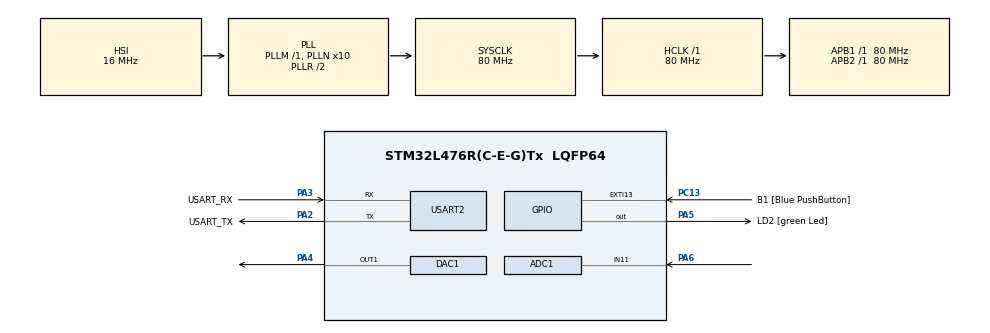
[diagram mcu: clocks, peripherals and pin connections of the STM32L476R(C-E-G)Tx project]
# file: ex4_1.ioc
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ADC1.Channel-2\#ChannelRegularConversion=ADC_CHANNEL_11
ADC1.ExternalTrigConv=ADC_EXTERNALTRIG_T6_TRGO
ADC1.NbrOfConversionFlag=1
ADC1.OffsetNumber-2\#ChannelRegularConversion=ADC_OFFSET_NONE
ADC1.Rank-2\#ChannelRegularConversion=1
ADC1.SamplingTime-2\#ChannelRegularConversion=ADC_SAMPLETIME_47CYCLES_5
ADC1.master=1
Mcu.Family=STM32L4
Mcu.Name=STM32L476R(C-E-G)Tx
Mcu.Package=LQFP64
NVIC.ADC1_2_IRQn=true\:0\:0\:false\:false\:true\:true\:true
NVIC.PriorityGroup=NVIC_PRIORITYGROUP_4
NVIC.TIM6_DAC_IRQn=true\:0\:0\:false\:false\:true\:true\:true
NVIC.TIM7_IRQn=true\:0\:0\:false\:false\:true\:true\:true
NVIC.USART2_IRQn=true\:0\:0\:false\:false\:true\:true\:true
PA13\ (JTMS-SWDIO).GPIO_Label=TMS
PA13\ (JTMS-SWDIO).Mode=Serial_Wire
PA13\ (JTMS-SWDIO).Signal=SYS_JTMS-SWDIO
PA14\ (JTCK-SWCLK).GPIO_Label=TCK
PA14\ (JTCK-SWCLK).Mode=Serial_Wire
PA14\ (JTCK-SWCLK).Signal=SYS_JTCK-SWCLK
PA2.GPIO_Label=USART_TX
PA2.GPIO_Mode=GPIO_MODE_AF_PP
PA2.GPIO_PuPd=GPIO_NOPULL
PA2.GPIO_Speed=GPIO_SPEED_FREQ_VERY_HIGH
PA2.Mode=Asynchronous
PA2.Signal=USART2_TX
PA3.GPIO_Label=USART_RX
PA3.GPIO_Mode=GPIO_MODE_AF_PP
PA3.GPIO_PuPd=GPIO_NOPULL
PA3.GPIO_Speed=GPIO_SPEED_FREQ_VERY_HIGH
PA3.Mode=Asynchronous
PA3.Signal=USART2_RX
PA4.Signal=COMP_DAC11_group
PA5.GPIO_Label=LD2 [green Led]
PA5.GPIO_ModeDefaultOutputPP=GPIO_MODE_OUTPUT_PP
PA5.GPIO_PuPd=GPIO_NOPULL
PA5.GPIO_Speed=GPIO_SPEED_FREQ_LOW
PA5.Signal=GPIO_Output
PA6.Signal=ADCx_IN11
PB3\ (JTDO-TRACESWO).GPIO_Label=SWO
PB3\ (JTDO-TRACESWO).Signal=SYS_JTDO-SWO
PC13.GPIO_Label=B1 [Blue PushButton]
PC13.GPIO_ModeDefaultEXTI=GPIO_MODE_IT_FALLING
PC13.GPIO_PuPd=GPIO_NOPULL
PC13.Signal=GPXTI13
PC14-OSC32_IN\ (PC14).Mode=LSE-External-Oscillator
PC14-OSC32_IN\ (PC14).Signal=RCC_OSC32_IN
PC15-OSC32_OUT\ (PC15).Mode=LSE-External-Oscillator
PC15-OSC32_OUT\ (PC15).Signal=RCC_OSC32_OUT
PH0-OSC_IN\ (PH0).Signal=RCC_OSC_IN
PH1-OSC_OUT\ (PH1).Signal=RCC_OSC_OUT
ProjectManager.HeapSize=0x200
ProjectManager.StackSize=0x400
ProjectManager.TargetToolchain=STM32CubeIDE
RCC.ADCFreq_Value=64000000
RCC.AHBFreq_Value=80000000
RCC.APB1Freq_Value=80000000
RCC.APB1TimFreq_Value=80000000
RCC.APB2Freq_Value=80000000
RCC.APB2TimFreq_Value=80000000
RCC.CortexFreq_Value=80000000
RCC.HCLKFreq_Value=80000000
RCC.HSE_VALUE=8000000
RCC.HSI_VALUE=16000000
RCC.MSI_VALUE=4000000
RCC.PLLN=10
RCC.PLLSourceVirtual=RCC_PLLSOURCE_HSI
RCC.PREFETCH_ENABLE=1
RCC.SYSCLKFreq_VALUE=80000000
RCC.SYSCLKSource=RCC_SYSCLKSOURCE_PLLCLK
RCC.USBFreq_Value=64000000
RCC.VCOOutputFreq_Value=160000000
SH.ADCx_IN11.0=ADC1_IN11,IN11-Single-Ended
SH.COMP_DAC11_group.0=DAC1_OUT1,DAC_OUT1
TIM6.Period=999
TIM6.Prescaler=799
TIM6.TIM_MasterOutputTrigger=TIM_TRGO_UPDATE
TIM7.Period=199
TIM7.Prescaler=7999
USART2.VirtualMode-Asynchronous=VM_ASYNC
VP_TIM6_VS_ClockSourceINT.Mode=Enable_Timer
VP_TIM7_VS_ClockSourceINT.Mode=Enable_Timer
board=NUCLEO-L476RG

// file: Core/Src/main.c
/* USER CODE BEGIN Header */
/**
  ******************************************************************************
  * @file           : main.c
  * @brief          : Main program body
  ******************************************************************************
  * @attention
  *
  * <h2><center>&copy; Copyright (c) 2021 STMicroelectronics.
  * All rights reserved.</center></h2>
  *
  * This software component is licensed by ST under BSD 3-Clause license,
  * the "License"; You may not use this file except in compliance with the
  * License. You may obtain a copy of the License at:
  *                        opensource.org/licenses/BSD-3-Clause
  *
  ******************************************************************************
  */
/* USER CODE END Header */
#include "main.h"
#include "adc.h"
#include "dac.h"
#include "tim.h"
#include "usart.h"
#include "gpio.h"

/* USER CODE BEGIN Includes */
#include "pid.h"
#include <stdio.h>
/* USER CODE END Includes */

/* USER CODE BEGIN PV */
volatile int adc_flag;
volatile int flag2;
volatile int adc_value;
volatile int dac_value;
volatile int dac_control;
volatile uint16_t dac_index;
volatile uint8_t dac_nperiod;
#define dac_nperiod_max 100 //programowy prescaler
int step_desired;
cpid_t pid;
volatile uint8_t i;
uint8_t Received;

uint16_t Value[] = {0,1024,2048,3073,4095};
/* USER CODE END PV */

void SystemClock_Config(void);
/* USER CODE BEGIN PFP */
int _write(int file, char *ptr, int len){
	HAL_UART_Transmit(&huart2, (uint8_t*)ptr, len, 50);
	return len;
}

void HAL_ADC_ConvCpltCallback(ADC_HandleTypeDef* hadc) {
	if (hadc == &hadc1) {
		adc_flag = 1;
		adc_value = HAL_ADC_GetValue(&hadc1);
	}
}

void HAL_TIM_PeriodElapsedCallback(TIM_HandleTypeDef *htim) {
	if (htim == &htim7) {
		flag2=1;
	}
}

void HAL_UART_RxCpltCallback(UART_HandleTypeDef *huart) {

		switch(Received){
		case '0':
			i=0;
			break;
		case '1':
			i=1;
			break;
		case '2':
			i=3;
			break;
		case '3':
			i=4;
			break;
		default:
			break;
		}
		 HAL_UART_Receive_IT(&huart2, &Received, 1);
}
/* USER CODE END PFP */

int main(void)
{

  /* MCU Configuration--------------------------------------------------------*/

  /* Reset of all peripherals, Initializes the Flash interface and the Systick. */
	HAL_Init();

  /* Configure the system clock */
  SystemClock_Config();

  /* Initialize all configured peripherals */
  MX_GPIO_Init();
  MX_USART2_UART_Init();
  MX_ADC1_Init();
  MX_DAC1_Init();
  MX_TIM6_Init();
  MX_TIM7_Init();
  /* USER CODE BEGIN 2 */
  HAL_ADC_Start_IT(&hadc1);
  HAL_TIM_Base_Start_IT(&htim6);
  HAL_TIM_Base_Start_IT(&htim7);
  HAL_UART_Receive_IT(&huart2, &Received, 1);

  HAL_DAC_SetValue(&hdac1, DAC_CHANNEL_1, DAC_ALIGN_12B_R, 0);
  HAL_DAC_Start(&hdac1, DAC_CHANNEL_1);

  /* USER CODE END 2 */

  /* Infinite loop */
  /* USER CODE BEGIN WHILE */
  pid_init(&pid, 1.0f, 1.5f, 0.1f, 10, 10);
  pid.p_max = pid_scale(&pid, 4095);
  pid.p_min = pid_scale(&pid, -4095);
  pid.i_max = pid_scale(&pid, 4095);
  pid.i_min = pid_scale(&pid, -4095);
  pid.d_max = pid_scale(&pid, 4095);
  pid.d_min = pid_scale(&pid, -4095);
  pid.total_max = pid_scale(&pid, 4095);
  pid.total_min = pid_scale(&pid, 0);

  while (1)
  {

	  if (adc_flag == 1) {
		  adc_flag = 0;
		  dac_control = pid_calc(&pid, adc_value, Value[i]);
		  HAL_DAC_SetValue(&hdac1, DAC_CHANNEL_1, DAC_ALIGN_12B_R, dac_control);
	  }
	  if(flag2 == 1){
		  uint16_t help1;
		  help1=adc_value;

		  printf("DAC: MV:   %d,  %d %% CS:  %d, SP:  %d,  0%d %% \r\n",help1, help1*100/4095 ,CS, Value[i], Value[i]*100/4095 );
	  }

    /* USER CODE END WHILE */

  }
}

void SystemClock_Config(void)
{
  RCC_OscInitTypeDef RCC_OscInitStruct = {0};
  RCC_ClkInitTypeDef RCC_ClkInitStruct = {0};
  RCC_PeriphCLKInitTypeDef PeriphClkInit = {0};

  /** Initializes the RCC Oscillators according to the specified parameters
  * in the RCC_OscInitTypeDef structure.
  */
  RCC_OscInitStruct.OscillatorType = RCC_OSCILLATORTYPE_HSI;
  RCC_OscInitStruct.HSIState = RCC_HSI_ON;
  RCC_OscInitStruct.HSICalibrationValue = RCC_HSICALIBRATION_DEFAULT;
  RCC_OscInitStruct.PLL.PLLState = RCC_PLL_ON;
  RCC_OscInitStruct.PLL.PLLSource = RCC_PLLSOURCE_HSI;
  RCC_OscInitStruct.PLL.PLLM = 1;
  RCC_OscInitStruct.PLL.PLLN = 10;
  RCC_OscInitStruct.PLL.PLLP = RCC_PLLP_DIV7;
  RCC_OscInitStruct.PLL.PLLQ = RCC_PLLQ_DIV2;
  RCC_OscInitStruct.PLL.PLLR = RCC_PLLR_DIV2;
  if (HAL_RCC_OscConfig(&RCC_OscInitStruct) != HAL_OK)
  {
    Error_Handler();
  }
  /** Initializes the CPU, AHB and APB buses clocks
  */
  RCC_ClkInitStruct.ClockType = RCC_CLOCKTYPE_HCLK|RCC_CLOCKTYPE_SYSCLK
                              |RCC_CLOCKTYPE_PCLK1|RCC_CLOCKTYPE_PCLK2;
  RCC_ClkInitStruct.SYSCLKSource = RCC_SYSCLKSOURCE_PLLCLK;
  RCC_ClkInitStruct.AHBCLKDivider = RCC_SYSCLK_DIV1;
  RCC_ClkInitStruct.APB1CLKDivider = RCC_HCLK_DIV1;
  RCC_ClkInitStruct.APB2CLKDivider = RCC_HCLK_DIV1;

  if (HAL_RCC_ClockConfig(&RCC_ClkInitStruct, FLASH_LATENCY_4) != HAL_OK)
  {
    Error_Handler();
  }
  PeriphClkInit.PeriphClockSelection = RCC_PERIPHCLK_USART2|RCC_PERIPHCLK_ADC;
  PeriphClkInit.Usart2ClockSelection = RCC_USART2CLKSOURCE_PCLK1;
  PeriphClkInit.AdcClockSelection = RCC_ADCCLKSOURCE_PLLSAI1;
  PeriphClkInit.PLLSAI1.PLLSAI1Source = RCC_PLLSOURCE_HSI;
  PeriphClkInit.PLLSAI1.PLLSAI1M = 1;
  PeriphClkInit.PLLSAI1.PLLSAI1N = 8;
  PeriphClkInit.PLLSAI1.PLLSAI1P = RCC_PLLP_DIV7;
  PeriphClkInit.PLLSAI1.PLLSAI1Q = RCC_PLLQ_DIV2;
  PeriphClkInit.PLLSAI1.PLLSAI1R = RCC_PLLR_DIV2;
  PeriphClkInit.PLLSAI1.PLLSAI1ClockOut = RCC_PLLSAI1_ADC1CLK;
  if (HAL_RCCEx_PeriphCLKConfig(&PeriphClkInit) != HAL_OK)
  {
    Error_Handler();
  }
  /** Configure the main internal regulator output voltage
  */
  if (HAL_PWREx_ControlVoltageScaling(PWR_REGULATOR_VOLTAGE_SCALE1) != HAL_OK)
  {
    Error_Handler();
  }
}

void Error_Handler(void)
{
}

/************************ (C) COPYRIGHT STMicroelectronics *****END OF FILE****/
